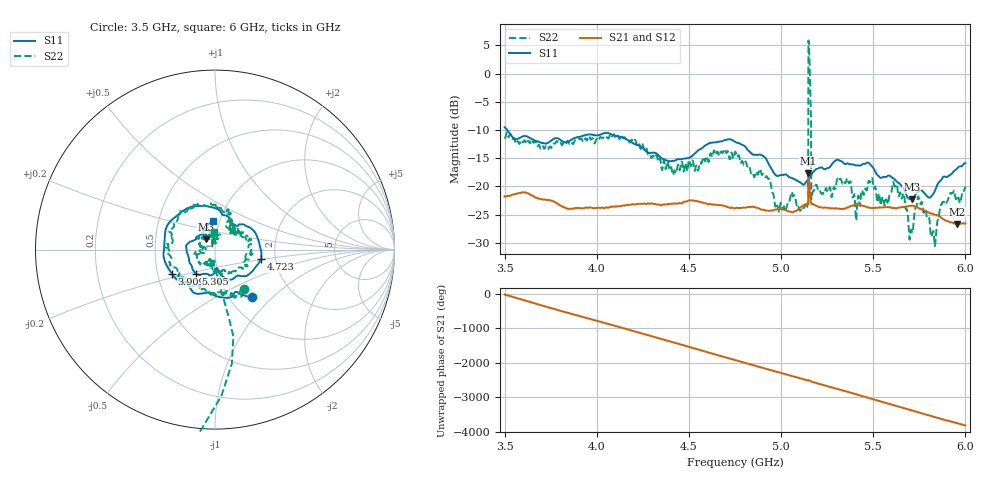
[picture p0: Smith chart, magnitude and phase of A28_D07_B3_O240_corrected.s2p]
! Created with skrf 1.9.0 (http://scikit-rf.org).
# Hz S RI R 50.0
!freq ReS11 ImS11 ReS21 ImS21 ReS12 ImS12 ReS22 ImS22
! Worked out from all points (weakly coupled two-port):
!   1601 points, 3.5 GHz to 6 GHz, reference 50 ohm
!   highest |S21| = -17.65 dB at 5.148 GHz (marker M1); lowest = -26.6 dB at 5.956 GHz (marker M2)
!   lowest |S11| = -22.3 dB at 5.709 GHz (marker M3), VSWR 1.17, Z = 44.9 + j5.19 ohm
!   |S11| at or under -10 dB: 3.514 GHz to end of sweep
!   |S22| runs from -30.6 to 5.9 dB; largest |S21 - S12| = 0.001
!   S11 on the Smith chart (normalised r, x): 3.5 GHz: 1.27, -0.75; 3.909 GHz: 0.59, -0.17; 4.723 GHz: 1.68, -0.19; 5.305 GHz: 0.78, -0.22; 6 GHz: 0.93, +0.31
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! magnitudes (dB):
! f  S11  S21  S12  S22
! 3.5 GHz  -9.5  -21.8  -21.8  -11.3
! 3.909 GHz  -11.2  -23.8  -23.8  -11.6
! 3.917 GHz  -11.1  -23.9  -23.9  -11.6
! 4.334 GHz  -14.5  -23.2  -23.2  -15.6
! 4.723 GHz  -11.6  -23.8  -23.7  -15.1
! 4.75 GHz  -12.1  -23.9  -23.8  -13.9
! 4.98 GHz  -18.2  -24.1  -24.0  -23.3
! 5.111 GHz  -19.5  -23.6  -23.5  -23.7
! 5.134 GHz  -19.3  -23.1  -23.1  -23.3
! 5.148 GHz  -18.7  -17.6  -17.7  5.9
! 5.161 GHz  -18.1  -22.6  -22.6  -6.1
! 5.167 GHz  -17.7  -23.1  -23.1  -21.6
! 5.177 GHz  -17.4  -23.2  -23.2  -20.8
! 5.305 GHz  -15.3  -23.9  -23.9  -18.7
! 5.584 GHz  -18.1  -23.7  -23.7  -22.3
! 5.619 GHz  -18.8  -23.8  -23.9  -20.0
! 5.709 GHz  -22.3  -23.4  -23.4  -27.9
! 5.75 GHz  -20.8  -23.9  -23.8  -22.4
! 5.827 GHz  -21.3  -24.9  -24.9  -27.9
! 5.873 GHz  -18.6  -25.7  -25.6  -22.9
! 5.956 GHz  -16.8  -26.6  -26.6  -22.5
! 6 GHz  -15.9  -26.5  -26.5  -20.0
